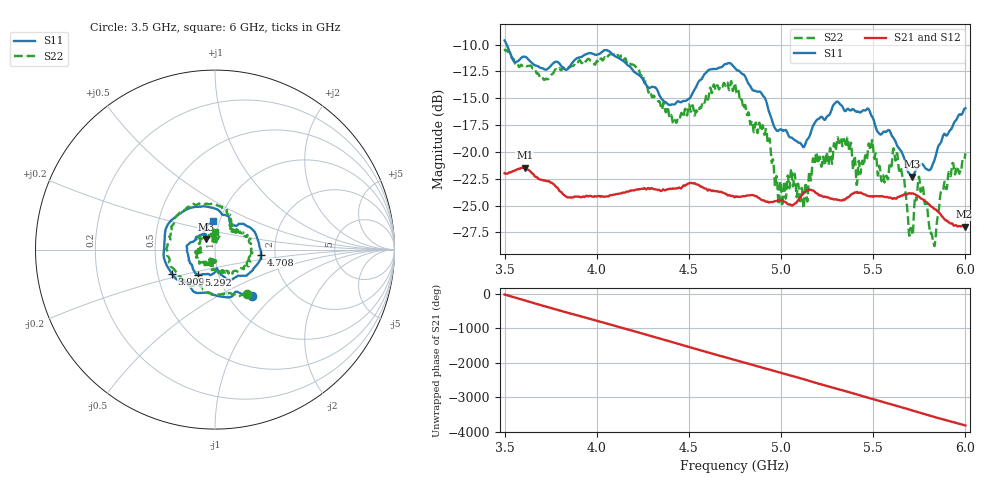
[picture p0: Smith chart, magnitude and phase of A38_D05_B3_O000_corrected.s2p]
! Created with skrf 1.9.0 (http://scikit-rf.org).
# Hz S RI R 50.0
!freq ReS11 ImS11 ReS21 ImS21 ReS12 ImS12 ReS22 ImS22
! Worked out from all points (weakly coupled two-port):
!   1601 points, 3.5 GHz to 6 GHz, reference 50 ohm
!   highest |S21| = -21.47 dB at 3.609 GHz (marker M1); lowest = -27.0 dB at 5.995 GHz (marker M2)
!   lowest |S11| = -22.3 dB at 5.713 GHz (marker M3), VSWR 1.17, Z = 45.1 + j5.41 ohm
!   |S11| at or under -10 dB: 3.511 GHz to end of sweep
!   |S22| runs from -28.8 to -10.4 dB; largest |S21 - S12| = 0.00089
!   S11 on the Smith chart (normalised r, x): 3.5 GHz: 1.27, -0.74; 3.909 GHz: 0.59, -0.17; 4.708 GHz: 1.68, -0.10; 5.292 GHz: 0.80, -0.23; 6 GHz: 0.93, +0.31
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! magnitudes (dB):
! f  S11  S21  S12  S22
! 3.5 GHz  -9.6  -22.0  -22.0  -10.4
! 3.609 GHz  -11.1  -21.5  -21.5  -11.9
! 3.909 GHz  -11.2  -24.2  -24.2  -11.5
! 3.917 GHz  -11.2  -24.2  -24.2  -11.7
! 4.144 GHz  -11.5  -23.8  -23.8  -11.3
! 4.334 GHz  -14.5  -23.5  -23.5  -15.3
! 4.423 GHz  -15.6  -23.4  -23.4  -17.0
! 4.708 GHz  -11.8  -24.0  -23.9  -13.5
! 4.75 GHz  -12.2  -24.2  -24.1  -13.6
! 4.928 GHz  -15.8  -24.7  -24.6  -19.2
! 4.995 GHz  -17.9  -24.5  -24.5  -22.7
! 5.131 GHz  -19.3  -23.7  -23.7  -23.0
! 5.167 GHz  -17.8  -23.6  -23.5  -21.7
! 5.292 GHz  -15.5  -24.4  -24.4  -19.6
! 5.584 GHz  -18.0  -24.3  -24.2  -21.9
! 5.62 GHz  -19.0  -24.3  -24.3  -20.8
! 5.713 GHz  -22.3  -23.9  -23.8  -27.8
! 5.756 GHz  -21.2  -24.3  -24.3  -23.7
! 5.83 GHz  -20.9  -25.3  -25.2  -28.6
! 5.877 GHz  -18.6  -26.1  -26.0  -23.7
! 5.995 GHz  -16.0  -27.0  -26.9  -20.6
! 6 GHz  -15.9  -27.0  -26.9  -20.1
